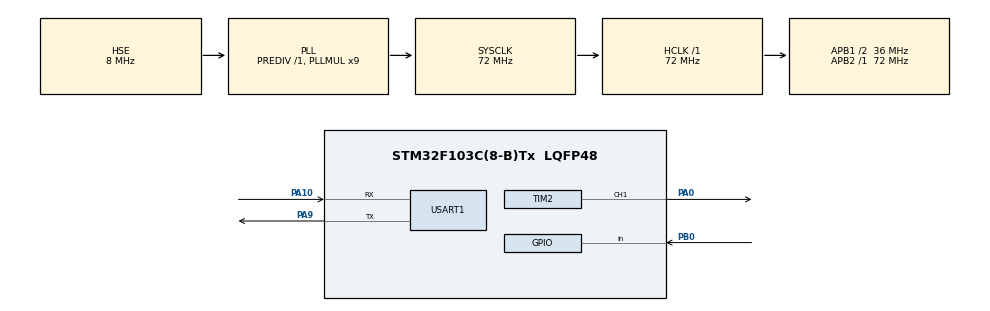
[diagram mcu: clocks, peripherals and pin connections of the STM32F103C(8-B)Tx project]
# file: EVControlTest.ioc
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Mcu.Family=STM32F1
Mcu.Name=STM32F103C(8-B)Tx
Mcu.Package=LQFP48
NVIC.PriorityGroup=NVIC_PRIORITYGROUP_4
NVIC.TIM3_IRQn=true\:0\:0\:false\:false\:true\:true\:true\:true
NVIC.USART1_IRQn=true\:0\:0\:false\:false\:true\:true\:true\:true
PA0-WKUP.Signal=S_TIM2_CH1_ETR
PA10.Mode=Asynchronous
PA10.Signal=USART1_RX
PA13.Mode=Serial_Wire
PA13.Signal=SYS_JTMS-SWDIO
PA14.Mode=Serial_Wire
PA14.Signal=SYS_JTCK-SWCLK
PA9.Mode=Asynchronous
PA9.Signal=USART1_TX
PB0.Signal=GPIO_Input
PD0-OSC_IN.Mode=HSE-External-Oscillator
PD0-OSC_IN.Signal=RCC_OSC_IN
PD1-OSC_OUT.Mode=HSE-External-Oscillator
PD1-OSC_OUT.Signal=RCC_OSC_OUT
ProjectManager.HeapSize=0x200
ProjectManager.StackSize=0x400
ProjectManager.TargetToolchain=MDK-ARM V5.32
RCC.AHBFreq_Value=72000000
RCC.APB1CLKDivider=RCC_HCLK_DIV2
RCC.APB1Freq_Value=36000000
RCC.APB1TimFreq_Value=72000000
RCC.APB2Freq_Value=72000000
RCC.APB2TimFreq_Value=72000000
RCC.HCLKFreq_Value=72000000
RCC.PLLMUL=RCC_PLL_MUL9
RCC.PLLSourceVirtual=RCC_PLLSOURCE_HSE
RCC.SYSCLKFreq_VALUE=72000000
RCC.SYSCLKSource=RCC_SYSCLKSOURCE_PLLCLK
RCC.USBFreq_Value=72000000
SH.S_TIM2_CH1_ETR.0=TIM2_CH1,PWM Generation1 CH1
TIM2.Channel-PWM\ Generation1\ CH1=TIM_CHANNEL_1
TIM2.Period=100 - 1
TIM2.Prescaler=72 - 1
TIM3.Period=2000 - 1
TIM3.Prescaler=7200 - 1
USART1.VirtualMode=VM_ASYNC
VP_TIM2_VS_ClockSourceINT.Mode=Internal
VP_TIM3_VS_ClockSourceINT.Mode=Internal
board=custom

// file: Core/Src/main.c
/* USER CODE BEGIN Header */
/**
  ******************************************************************************
  * @file           : main.c
  * @brief          : Main program body
  ******************************************************************************
  * @attention
  *
  * Copyright (c) 2026 STMicroelectronics.
  * All rights reserved.
  *
  * This software is licensed under terms that can be found in the LICENSE file
  * in the root directory of this software component.
  * If no LICENSE file comes with this software, it is provided AS-IS.
  *
  ******************************************************************************
  */
/* USER CODE END Header */
#include "main.h"
#include "tim.h"
#include "usart.h"
#include "gpio.h"

/* USER CODE BEGIN Includes */
#include <string.h>
#include "Command.h"
#include "Light.h"
#include "ReadPin.h"
/* USER CODE END Includes */

/* USER CODE BEGIN PV */
uint8_t readBuffer[100];
uint8_t command[20];
uint8_t sendBuffer[20];
uint8_t pinState = 0;
/* USER CODE END PV */

void SystemClock_Config(void);

/* USER CODE BEGIN 0 */
void HAL_UARTEx_RxEventCallback(UART_HandleTypeDef *huart, uint16_t Size)
{
	if(huart == &huart1)
	{
		Command_Write(readBuffer, Size);
		HAL_UARTEx_ReceiveToIdle_IT(&huart1, readBuffer, sizeof(readBuffer));
	}
}

void HAL_TIM_PeriodElapsedCallback(TIM_HandleTypeDef *htim)
{
	if(htim == &htim3)
	{
		uint8_t lengh = ReadPin(sendBuffer, GPIOB, GPIO_PIN_0);
		HAL_UART_Transmit_IT(&huart1, sendBuffer, lengh);
	}
}
/* USER CODE END 0 */

int main(void)
{

  /* MCU Configuration--------------------------------------------------------*/

  /* Reset of all peripherals, Initializes the Flash interface and the Systick. */
  HAL_Init();

  /* Configure the system clock */
  SystemClock_Config();

  /* Initialize all configured peripherals */
  MX_GPIO_Init();
  MX_TIM2_Init();
  MX_USART1_UART_Init();
  MX_TIM3_Init();
  /* USER CODE BEGIN 2 */
	Light_Init();
	HAL_TIM_Base_Start_IT(&htim3);
	HAL_UARTEx_ReceiveToIdle_IT(&huart1, readBuffer, sizeof(readBuffer));
  /* USER CODE END 2 */

  /* Infinite loop */
  /* USER CODE BEGIN WHILE */
  while (1)
  {
		if(Command_GetCommand(command) != 0)
		{
			if(command[2] == 0x01)
			{
				switch(command[3])
				{
					case 0x00:
						Light_Set(0);
						pinState = 0;
						break;
					case 0x01:
						Light_Set(100);
						pinState = 1;
						break;
					case 0x02:
						switch(pinState)
						{
							case 0:
								Light_Set(100);
								pinState = 1;
								break;
							case 1:
								Light_Set(0);
								pinState = 0;
								break;
						}
						break;
				}
			}
			else if(command[2] == 0x02)
			{
				float light1;
				memcpy(&light1, command + 3, sizeof(float));
				uint8_t light = light1 * 100;
				pinState = light < 50 ? 0 : 1;
				Light_Set(light);
			}
		}
    /* USER CODE END WHILE */

  }
}

void SystemClock_Config(void)
{
  RCC_OscInitTypeDef RCC_OscInitStruct = {0};
  RCC_ClkInitTypeDef RCC_ClkInitStruct = {0};

  /** Initializes the RCC Oscillators according to the specified parameters
  * in the RCC_OscInitTypeDef structure.
  */
  RCC_OscInitStruct.OscillatorType = RCC_OSCILLATORTYPE_HSE;
  RCC_OscInitStruct.HSEState = RCC_HSE_ON;
  RCC_OscInitStruct.HSEPredivValue = RCC_HSE_PREDIV_DIV1;
  RCC_OscInitStruct.HSIState = RCC_HSI_ON;
  RCC_OscInitStruct.PLL.PLLState = RCC_PLL_ON;
  RCC_OscInitStruct.PLL.PLLSource = RCC_PLLSOURCE_HSE;
  RCC_OscInitStruct.PLL.PLLMUL = RCC_PLL_MUL9;
  if (HAL_RCC_OscConfig(&RCC_OscInitStruct) != HAL_OK)
  {
    Error_Handler();
  }

  /** Initializes the CPU, AHB and APB buses clocks
  */
  RCC_ClkInitStruct.ClockType = RCC_CLOCKTYPE_HCLK|RCC_CLOCKTYPE_SYSCLK
                              |RCC_CLOCKTYPE_PCLK1|RCC_CLOCKTYPE_PCLK2;
  RCC_ClkInitStruct.SYSCLKSource = RCC_SYSCLKSOURCE_PLLCLK;
  RCC_ClkInitStruct.AHBCLKDivider = RCC_SYSCLK_DIV1;
  RCC_ClkInitStruct.APB1CLKDivider = RCC_HCLK_DIV2;
  RCC_ClkInitStruct.APB2CLKDivider = RCC_HCLK_DIV1;

  if (HAL_RCC_ClockConfig(&RCC_ClkInitStruct, FLASH_LATENCY_2) != HAL_OK)
  {
    Error_Handler();
  }
}

void Error_Handler(void)
{
  __disable_irq();
  while (1)
  {
  }
}
